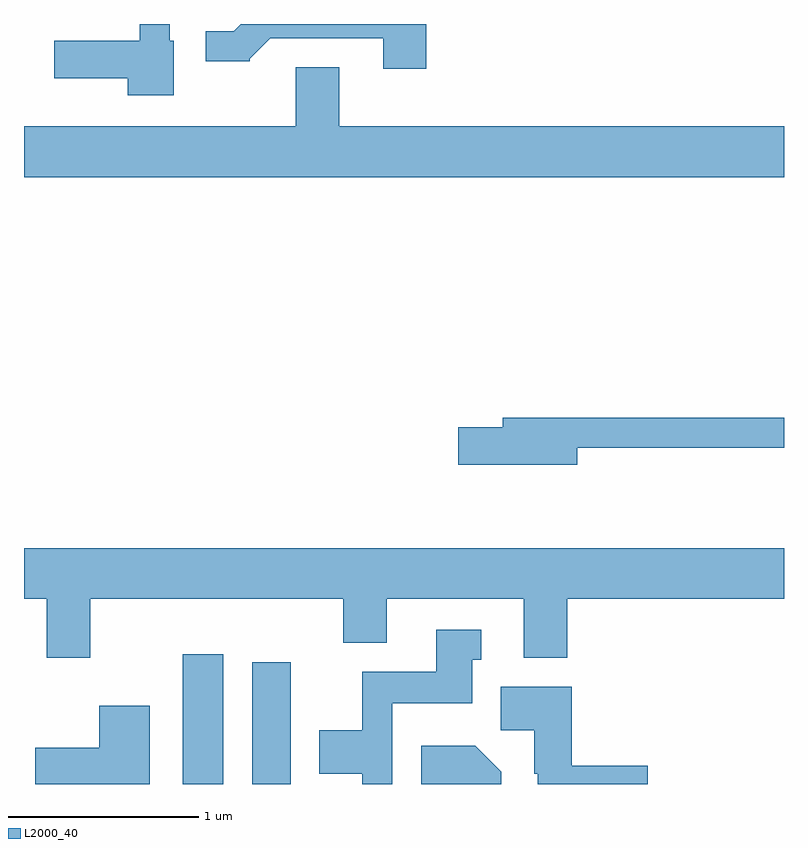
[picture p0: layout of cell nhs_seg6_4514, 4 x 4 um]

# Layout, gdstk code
import gdstk
lib = gdstk.Library(unit=1e-6, precision=1e-09)
def R(c, l, rs):  # rectangles x0, y0, x1, y1
    for r in rs: c.add(gdstk.rectangle(r[:2], r[2:], *l))
def P(c, l, *ps):  # polygons
    for p in ps: c.add(gdstk.Polygon(p, *l))
L2000_40 = (2000, 40)

nhs_seg6_4514 = lib.new_cell('nhs_seg6_4514')
R(nhs_seg6_4514, L2000_40, [(324.446,1560.162,324.659,1560.844), (324.811,1560.162,325.014,1560.804)])
P(nhs_seg6_4514, L2000_40, [(324.399,1564.074),(324.379,1564.074),(324.379,1564.162),(324.221,1564.162),(324.221,1564.074),(323.771,1564.074),(323.771,1563.876),(324.156,1563.876),(324.156,1563.786),(324.399,1563.786)],
  [(325.729,1564.162),(324.752,1564.162),(324.714,1564.124),(324.568,1564.124),(324.568,1563.966),(324.8,1563.966),(324.8,1563.98),(324.833,1564.013),(324.907,1564.086),(325.501,1564.086),(325.501,1563.926),(325.729,1563.926)],
  [(327.611,1563.624),(325.269,1563.624),(325.269,1563.934),(325.041,1563.934),(325.041,1563.624),(323.611,1563.624),(323.611,1563.356),(327.611,1563.356)],
  [(326.524,1561.931),(327.611,1561.931),(327.611,1562.089),(326.131,1562.089),(326.131,1562.039),(325.896,1562.039),(325.896,1561.841),(326.524,1561.841)],
  [(323.959,1561.136),(325.291,1561.136),(325.291,1560.906),(325.519,1560.906),(325.519,1561.136),(326.241,1561.136),(326.241,1560.826),(326.469,1560.826),(326.469,1561.136),(327.611,1561.136),(327.611,1561.404),(323.611,1561.404),(323.611,1561.136),(323.731,1561.136),(323.731,1560.826),(323.959,1560.826)],
  [(325.549,1560.586),(325.969,1560.586),(325.969,1560.816),(326.018,1560.816),(326.018,1560.974),(325.781,1560.974),(325.781,1560.754),(325.391,1560.754),(325.391,1560.444),(325.166,1560.444),(325.166,1560.216),(325.391,1560.216),(325.391,1560.162),(325.549,1560.162)],
  [(326.894,1560.259),(326.494,1560.259),(326.494,1560.674),(326.121,1560.674),(326.121,1560.446),(326.296,1560.446),(326.296,1560.216),(326.316,1560.216),(326.316,1560.162),(326.894,1560.162)],
  [(324.274,1560.574),(324.006,1560.574),(324.006,1560.354),(323.671,1560.354),(323.671,1560.162),(324.274,1560.162)],
  [(326.124,1560.227),(325.987,1560.364),(325.701,1560.364),(325.701,1560.162),(326.124,1560.162)])

lib.write_gds('nhs_seg6_4514.gds')
